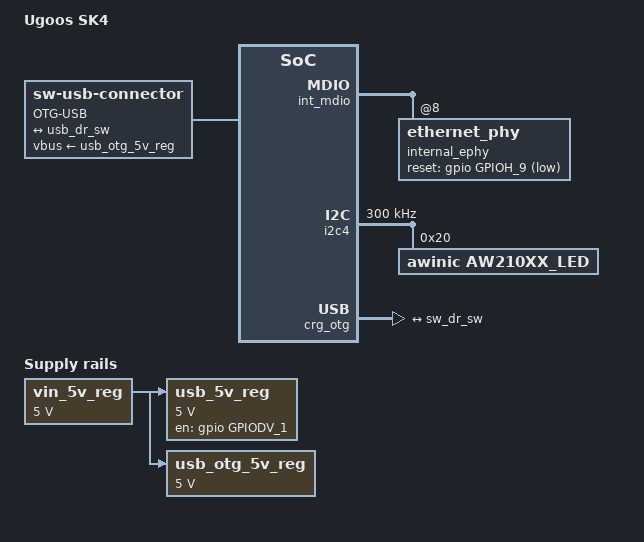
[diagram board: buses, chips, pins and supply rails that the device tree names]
#include "s7d_s905x5m_4g.dts"

/{
	model = "Ugoos SK4";
	coreelec-dt-id = "s7d_s905x5m_ugoos_sk4";

	/delete-node/ gpio_leds;

	auge_sound {
		/delete-property/ avout_mute-gpios;

		aml-audio-card,dai-link@2 {
			codec {
				/delete-property/ prefix-names;
				sound-dai = <&amlogic_codec>;
			};
		};
	};

	/delete-node/ adc_keypad;
	/delete-node/ gpio_keypad;

	/delete-node/ fixed@vin_12v_reg;
	/delete-node/ fixed@vddao_5v_reg;
	/delete-node/ fixed@vcc5v_reg;

	vin_5v_reg: fixed@vin_5v_reg {
		compatible = "regulator-fixed";
		regulator-name = "5V";
		regulator-min-microvolt = <5000000>;
		regulator-max-microvolt = <5000000>;
		regulator-boot-on;
		regulator-always-on;
	};

	fixed@vddq_reg {
		vin-supply = <&vin_5v_reg>;
	};

	fixed@vddq_reg {
		vin-supply = <&vin_5v_reg>;
	};

	fixed@vddao_3v3p_reg {
		vin-supply = <&vin_5v_reg>;
	};

	fixed@vdd1v8_dcdc_reg {
		vin-supply = <&vin_5v_reg>;
	};

	usb_5v_reg: fixedregulator@usb_5v {
		vin-supply = <&vin_5v_reg>;
		compatible = "regulator-fixed";
		regulator-name = "USB_5V";
		regulator-min-microvolt = <5000000>;
		regulator-max-microvolt = <5000000>;
		pinctrl-names = "default";
		gpio = <&gpio GPIODV_1 GPIO_ACTIVE_HIGH>;
		startup-delay-us = <70000>;
		enable-active-high;
		regulator-boot-on;
		regulator-always-on;
	};

	// dummy
	usb_otg_5v_reg: fixedregulator@usb_otg_5v {
		vin-supply = <&vin_5v_reg>;
		compatible = "regulator-fixed";
		regulator-name = "USB_OTG_5V";
		regulator-min-microvolt = <5000000>;
		regulator-max-microvolt = <5000000>;
		regulator-boot-on;
		regulator-always-on;
	};

	usb_otg_connector {
		compatible = "sw-usb-connector", "usb-a-connector";
		label = "OTG-USB";
		vbus-supply = <&usb_otg_5v_reg>;
		port {
			sw_dr_sw: endpoint {
				remote-endpoint = <&usb_dr_sw>;
			};
		};
	};
};

// not ethernet related but sets GPIO to enable USB-C port
&int_mdio {
	internal_ephy: ethernet_phy@8 {
		reset-assert-us = <10000>;
		reset-deassert-us = <80000>;
		reset-gpios = <&gpio GPIOH_9 GPIO_ACTIVE_LOW>;
	};
};

&vrtc {
	status = "disabled";
};

&i2c3 {
	status = "disabled";
};

&i2c4 {
	status = "okay";
	pinctrl-names = "default";
	pinctrl-0 = <&i2c4_pins2>;
	clock-frequency = <300000>;

	aw210xx_led@20 {
		status = "okay";
		compatible = "awinic,aw210xx_led";
		reg = <0x20>;
		global_current = <0x66>;
		osc_clk = <1>;
		br_res = <1>;

		aw210xx,led {
			aw210xx,name = "aw210xx_led";
			aw210xx,imax = <1>;
			aw210xx,brightness = <16>;
			aw210xx,max_brightness = <255>;
		};

/*
    R G B from led 1 to led 6
    led-map
      1    1    9   5
      2    2   10   6
      3    3   11   7
      4    4   12   8
      5    14  15  13
      6    17  18  16
*/
	};
};

&crg_otg {
	port {
		usb_dr_sw: endpoint {
			remote-endpoint = <&sw_dr_sw>;
		};
	};
};

&usb_phy21 {
	/delete-property/ gpio-vbus-power;
	/delete-property/ gpios;
};

&crg {
	vbus-supply = <&usb_5v_reg>;
};

/* SD card */
&sd_emmc_b {
	status = "disabled";
};

&ir_wakeup_key {
	key_num = <3>;
	/* same table as bl30 power.c */
	wakeup_key = <0xeb14ff00 IR_NORMAL KEY_POWER
		      0xe718ff00 IR_NORMAL KEY_POWER
		      0x8b74e619 IR_NORMAL KEY_POWER>;
};
